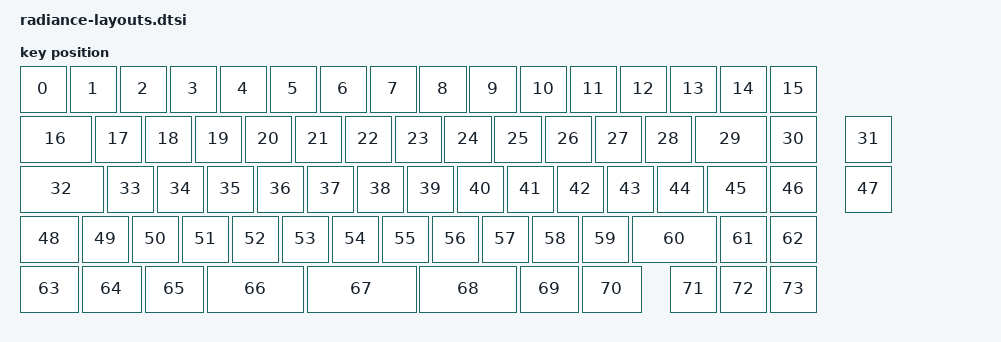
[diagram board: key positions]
#include <physical_layouts.dtsi>

// ISO-DE 65% layout. Entries follow the order of default_transform in radiance.overlay.
// Keys whose switch position depends on the PCB footprint (2u Backspace, ISO Enter,
// split spacebar) are drawn as segments so every matrix position is reachable.
/ {
    radiance_physical_layout: radiance_physical_layout {
        compatible = "zmk,physical-layout";
        display-name = "ISO DE";
        transform = <&default_transform>;
        kscan = <&kscan0>;

        keys  //                     w   h    x    y   rot rx  ry
            = <&key_physical_attrs 100 100    0    0    0   0   0>    // Esc
            , <&key_physical_attrs 100 100  100    0    0   0   0>    // 1
            , <&key_physical_attrs 100 100  200    0    0   0   0>    // 2
            , <&key_physical_attrs 100 100  300    0    0   0   0>    // 3
            , <&key_physical_attrs 100 100  400    0    0   0   0>    // 4
            , <&key_physical_attrs 100 100  500    0    0   0   0>    // 5
            , <&key_physical_attrs 100 100  600    0    0   0   0>    // 6
            , <&key_physical_attrs 100 100  700    0    0   0   0>    // 7
            , <&key_physical_attrs 100 100  800    0    0   0   0>    // 8
            , <&key_physical_attrs 100 100  900    0    0   0   0>    // 9
            , <&key_physical_attrs 100 100 1000    0    0   0   0>    // 0
            , <&key_physical_attrs 100 100 1100    0    0   0   0>    // ß
            , <&key_physical_attrs 100 100 1200    0    0   0   0>    // ´
            , <&key_physical_attrs 100 100 1300    0    0   0   0>    // Backspace (left half)
            , <&key_physical_attrs 100 100 1400    0    0   0   0>    // Backspace (right half)
            , <&key_physical_attrs 100 100 1500    0    0   0   0>    // Ins

            , <&key_physical_attrs 150 100    0  100    0   0   0>    // Tab
            , <&key_physical_attrs 100 100  150  100    0   0   0>    // Q
            , <&key_physical_attrs 100 100  250  100    0   0   0>    // W
            , <&key_physical_attrs 100 100  350  100    0   0   0>    // E
            , <&key_physical_attrs 100 100  450  100    0   0   0>    // R
            , <&key_physical_attrs 100 100  550  100    0   0   0>    // T
            , <&key_physical_attrs 100 100  650  100    0   0   0>    // Z
            , <&key_physical_attrs 100 100  750  100    0   0   0>    // U
            , <&key_physical_attrs 100 100  850  100    0   0   0>    // I
            , <&key_physical_attrs 100 100  950  100    0   0   0>    // O
            , <&key_physical_attrs 100 100 1050  100    0   0   0>    // P
            , <&key_physical_attrs 100 100 1150  100    0   0   0>    // Ü
            , <&key_physical_attrs 100 100 1250  100    0   0   0>    // +
            , <&key_physical_attrs 150 100 1350  100    0   0   0>    // Enter (upper part)
            , <&key_physical_attrs 100 100 1500  100    0   0   0>    // Del
            , <&key_physical_attrs 100 100 1650  100    0   0   0>    // Encoder 1 push

            , <&key_physical_attrs 175 100    0  200    0   0   0>    // Caps Lock
            , <&key_physical_attrs 100 100  175  200    0   0   0>    // A
            , <&key_physical_attrs 100 100  275  200    0   0   0>    // S
            , <&key_physical_attrs 100 100  375  200    0   0   0>    // D
            , <&key_physical_attrs 100 100  475  200    0   0   0>    // F
            , <&key_physical_attrs 100 100  575  200    0   0   0>    // G
            , <&key_physical_attrs 100 100  675  200    0   0   0>    // H
            , <&key_physical_attrs 100 100  775  200    0   0   0>    // J
            , <&key_physical_attrs 100 100  875  200    0   0   0>    // K
            , <&key_physical_attrs 100 100  975  200    0   0   0>    // L
            , <&key_physical_attrs 100 100 1075  200    0   0   0>    // Ö
            , <&key_physical_attrs 100 100 1175  200    0   0   0>    // Ä
            , <&key_physical_attrs 100 100 1275  200    0   0   0>    // #
            , <&key_physical_attrs 125 100 1375  200    0   0   0>    // Enter (lower part)
            , <&key_physical_attrs 100 100 1500  200    0   0   0>    // Home
            , <&key_physical_attrs 100 100 1650  200    0   0   0>    // Encoder 2 push

            , <&key_physical_attrs 125 100    0  300    0   0   0>    // Left Shift
            , <&key_physical_attrs 100 100  125  300    0   0   0>    // Left Shift (ISO <> position, unpopulated)
            , <&key_physical_attrs 100 100  225  300    0   0   0>    // Y
            , <&key_physical_attrs 100 100  325  300    0   0   0>    // X
            , <&key_physical_attrs 100 100  425  300    0   0   0>    // C
            , <&key_physical_attrs 100 100  525  300    0   0   0>    // V
            , <&key_physical_attrs 100 100  625  300    0   0   0>    // B
            , <&key_physical_attrs 100 100  725  300    0   0   0>    // N
            , <&key_physical_attrs 100 100  825  300    0   0   0>    // M
            , <&key_physical_attrs 100 100  925  300    0   0   0>    // ,
            , <&key_physical_attrs 100 100 1025  300    0   0   0>    // .
            , <&key_physical_attrs 100 100 1125  300    0   0   0>    // -
            , <&key_physical_attrs 175 100 1225  300    0   0   0>    // Right Shift
            , <&key_physical_attrs 100 100 1400  300    0   0   0>    // Up
            , <&key_physical_attrs 100 100 1500  300    0   0   0>    // End

            , <&key_physical_attrs 125 100    0  400    0   0   0>    // Ctrl
            , <&key_physical_attrs 125 100  125  400    0   0   0>    // Win
            , <&key_physical_attrs 125 100  250  400    0   0   0>    // Alt
            , <&key_physical_attrs 200 100  375  400    0   0   0>    // Space (left segment)
            , <&key_physical_attrs 225 100  575  400    0   0   0>    // Space (center)
            , <&key_physical_attrs 200 100  800  400    0   0   0>    // Space (right segment)
            , <&key_physical_attrs 125 100 1000  400    0   0   0>    // AltGr
            , <&key_physical_attrs 125 100 1125  400    0   0   0>    // Menu / Fn
            , <&key_physical_attrs 100 100 1300  400    0   0   0>    // Left
            , <&key_physical_attrs 100 100 1400  400    0   0   0>    // Down
            , <&key_physical_attrs 100 100 1500  400    0   0   0>    // Right
            ;
    };
};
